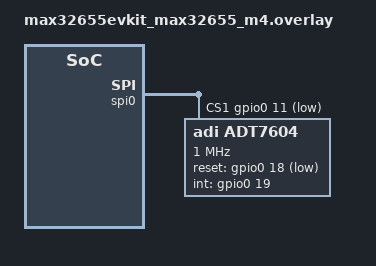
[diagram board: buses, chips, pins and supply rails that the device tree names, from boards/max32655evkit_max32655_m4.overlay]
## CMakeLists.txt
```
# SPDX-License-Identifier: Apache-2.0

cmake_minimum_required(VERSION 3.20.0)
find_package(Zephyr REQUIRED HINTS $ENV{ZEPHYR_BASE})
project(adt7604)

target_sources(app PRIVATE src/main.c)
```

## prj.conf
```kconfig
CONFIG_SENSOR=y
CONFIG_SENSOR_ASYNC_API=y
CONFIG_ADT7604=y
CONFIG_MAIN_STACK_SIZE=4096
```

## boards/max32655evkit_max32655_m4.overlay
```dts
/*
 * SPDX-FileCopyrightText: Copyright (c) 2026 Analog Devices, Inc.
 *
 * SPDX-License-Identifier: Apache-2.0
 */

#include <zephyr/dt-bindings/sensor/adt7604.h>

&i2c0 {
	status = "disabled";
};

&spi0 {
	cs-gpios = <&gpio0 4 (GPIO_ACTIVE_LOW | MAX32_GPIO_VSEL_VDDIOH)>,
		   <&gpio0 11 (GPIO_ACTIVE_LOW | MAX32_GPIO_VSEL_VDDIOH)>;

	adt7604: adt7604@1 {
		compatible = "adi,adt7604";
		reg = <1>;
		spi-max-frequency = <1000000>;

		reset-gpios = <&gpio0 18 (GPIO_ACTIVE_LOW | MAX32_GPIO_VSEL_VDDIOH)>;
		int-gpios = <&gpio0 19 (GPIO_ACTIVE_HIGH | MAX32_GPIO_VSEL_VDDIOH)>;

		#address-cells = <1>;
		#size-cells = <0>;

		adi,mux-delay-config-us = <0>;
		adi,filter-notch-freq = "50hz";

		channel@2 {
			reg = <0x2>;
			adi,sensor-type = <ADT7604_SENSOR_TYPE_RSENSE>;
			adi,rsense-val = "100";
			adi,rsense-mohm;
		};

		channel@4 {
			reg = <0x4>;
			adi,sensor-type = <ADT7604_SENSOR_TYPE_COPPER_TRACE>;
			adi,excitation-current = <ADT7604_CT_EXCITATION_CURRENT_10_UA>;
			adi,rsense-channel = <2>;
			adi,sub-ohm;
		};

		channel@6 {
			reg = <0x6>;
			adi,sensor-type = <ADT7604_SENSOR_TYPE_COPPER_TRACE>;
			adi,excitation-current = <ADT7604_CT_EXCITATION_CURRENT_10_UA>;
			adi,rsense-channel = <2>;
			adi,sub-ohm;
		};

		channel@8 {
			reg = <0x8>;
			adi,sensor-type = <ADT7604_SENSOR_TYPE_COPPER_TRACE>;
			adi,rsense-channel = <2>;
			adi,excitation-current = <ADT7604_CT_EXCITATION_CURRENT_10_UA>;
		};

		channel@c {
			reg = <0xc>;
			adi,sensor-type = <ADT7604_SENSOR_TYPE_RSENSE>;
			adi,rsense-val = "1000";
		};

		channel@e {
			reg = <0xe>;
			adi,sensor-type = <ADT7604_SENSOR_TYPE_LEAK_DETECTOR>;
			adi,rsense-channel = <12>;
			adi,excitation-current = <ADT7604_LEAK_EXCITATION_CURRENT_10_UA>;
		};

		channel@10 {
			reg = <0x10>;
			adi,sensor-type = <ADT7604_SENSOR_TYPE_LEAK_DETECTOR>;
			adi,rsense-channel = <12>;
			adi,excitation-current = <ADT7604_LEAK_EXCITATION_CURRENT_10_UA>;
		};

		channel@12 {
			reg = <0x12>;
			adi,sensor-type = <ADT7604_SENSOR_TYPE_RTD_PT_100>;
			adi,rsense-channel = <12>;
			adi,sensor-configuration = <ADT7604_RTD_CONFIG_2_WIRE_INTERNAL>;
			adi,excitation-current = <ADT7604_RTD_EXCITATION_CURRENT_1_MA>;
			adi,rtd-curve = "european-curve";
		};

		channel@14 {
			reg = <0x14>;
			adi,sensor-type = <ADT7604_SENSOR_TYPE_THERMISTOR_44006>;
			adi,rsense-channel = <12>;
			adi,sensor-configuration = <ADT7604_THERMISTOR_CONFIG_DIFF_SHARE_NO_ROTATE>;
			adi,excitation-current = <ADT7604_THERMISTOR_EXCITATION_CURRENT_10_UA>;
		};
	};
};
```

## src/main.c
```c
/*
 * SPDX-FileCopyrightText: Copyright (c) 2026 Analog Devices, Inc.
 *
 * SPDX-License-Identifier: Apache-2.0
 *
 * ADT7604 example — uses the sensor read/decode API (SENSOR_ASYNC_API).
 *
 * Two separate reads are issued per loop iteration:
 *   1. Temperature channels  (SENSOR_CHAN_AMBIENT_TEMP) — RTD and thermistor types
 *   2. Resistance channels   (SENSOR_CHAN_RESISTANCE)   — copper-trace types
 *
 * The decoder returns one reading per channel instance. The print functions
 * iterate chan_idx until get_frame_count returns an error to discover all instances.
 */

#include <stdio.h>
#include <zephyr/kernel.h>
#include <zephyr/drivers/sensor.h>
#include <zephyr/drivers/sensor_data_types.h>
#include <zephyr/rtio/rtio.h>
#include <zephyr/dsp/print_format.h>
#include <zephyr/logging/log.h>

#include <zephyr/drivers/sensor/adt7604.h>

LOG_MODULE_REGISTER(adt7604, LOG_LEVEL_INF);

/* One RTIO context is shared between both reads (sequential, not concurrent). */
RTIO_DEFINE(adt7604_ctx, 1, 1);

SENSOR_DT_READ_IODEV(temp_iodev, DT_NODELABEL(adt7604), {SENSOR_CHAN_AMBIENT_TEMP, 0},
		     {SENSOR_CHAN_AMBIENT_TEMP, 1});

SENSOR_DT_READ_IODEV(res_iodev, DT_NODELABEL(adt7604), {SENSOR_CHAN_RESISTANCE, 0},
		     {SENSOR_CHAN_RESISTANCE, 1}, {SENSOR_CHAN_RESISTANCE, 2},
		     {SENSOR_CHAN_RESISTANCE, 3}, {SENSOR_CHAN_RESISTANCE, 4});

/*
 * The encoded buffer must fit the full adt7604_encoded_data struct.
 * 256 bytes is generous; the driver's sizeof(adt7604_encoded_data) with
 * ADT7604_MAX_CHANNELS=20 channels is ~165 bytes.
 */
#define READ_BUF_SIZE 256

static void print_temp_readings(const struct sensor_decoder_api *decoder, const uint8_t *buf)
{
	bool found = false;

	for (uint16_t idx = 0;; idx++) {
		struct sensor_chan_spec chan = {SENSOR_CHAN_AMBIENT_TEMP, idx};
		uint16_t count = 0;

		if (decoder->get_frame_count(buf, chan, &count) < 0 || count == 0) {
			break;
		}

		struct sensor_q31_data out = {0};
		uint32_t fit = 0;
		int decoded = decoder->decode(buf, chan, &fit, 1, &out);

		if (decoded > 0) {
			printf("  temp[%d]: %" PRIq(6) " °C\n", idx,
			       PRIq_arg(out.readings[0].temperature, 6, out.shift));
			found = true;
		}
	}

	if (!found) {
		LOG_INF("No temperature readings in buffer");
	}
}

static void print_res_readings(const struct sensor_decoder_api *decoder, const uint8_t *buf)
{
	bool found = false;

	for (uint16_t idx = 0;; idx++) {
		struct sensor_chan_spec chan = {SENSOR_CHAN_RESISTANCE, idx};
		uint16_t count = 0;

		if (decoder->get_frame_count(buf, chan, &count) < 0 || count == 0) {
			break;
		}

		struct sensor_q31_data out = {0};
		uint32_t fit = 0;
		int decoded = decoder->decode(buf, chan, &fit, 1, &out);

		if (decoded > 0) {
			printf("  resistance[%d]: %" PRIq(6) " Ohm\n", idx,
			       PRIq_arg(out.readings[0].resistance, 6, out.shift));
			found = true;
		}
	}

	if (!found) {
		LOG_INF("No resistance readings in buffer");
	}
}

int main(void)
{
	const struct device *dev = DEVICE_DT_GET(DT_NODELABEL(adt7604));
	const struct sensor_decoder_api *decoder;
	int rc;

	if (!device_is_ready(dev)) {
		LOG_ERR("ADT7604 device not ready");
		return -ENODEV;
	}

	/* Example copper trace sensor data table
	 * This is for a copper trace ≥1Ω sensor
	 * Format: resistance (mΩ) and temperature (Kelvin)
	 */
	struct adt7604_custom_sensor_data copper_trace_rows[] = {
		{.copper_trace = {.resistance_mohm = 0, .temp_kelvin = 0}},
		{.copper_trace = {.resistance_mohm = 51937, .temp_kelvin = 51200}},
		{.copper_trace = {.resistance_mohm = 454410, .temp_kelvin = 102400}},
		{.copper_trace = {.resistance_mohm = 856801, .temp_kelvin = 153600}},
		{.copper_trace = {.resistance_mohm = 1243136, .temp_kelvin = 202752}},
		{.copper_trace = {.resistance_mohm = 1645609, .temp_kelvin = 253952}},
		{.copper_trace = {.resistance_mohm = 2048000, .temp_kelvin = 305152}},
		{.copper_trace = {.resistance_mohm = 2466529, .temp_kelvin = 358400}},
		{.copper_trace = {.resistance_mohm = 2869002, .temp_kelvin = 409600}},
		{.copper_trace = {.resistance_mohm = 3456532, .temp_kelvin = 484352}},
	};

	struct adt7604_custom_sensor_data_table copper_trace_tbl = {
		.data = copper_trace_rows,
		.num_rows = ARRAY_SIZE(copper_trace_rows),
		.custom_addr_ptr = 0, /* Start at offset 0 from 0x250 */
	};

	/* Write copper trace custom sensor table (channel 8) */
	rc = adt7604_write_custom_sensor_data_table(dev, 8, &copper_trace_tbl);
	if (rc < 0) {
		printf("Failed to write copper trace custom data: %d\n", rc);
		return rc;
	}

	rc = sensor_get_decoder(dev, &decoder);

	if (rc < 0) {
		LOG_ERR("Failed to get decoder: %d", rc);
		return rc;
	}

	LOG_INF("ADT7604 sample started");

	uint8_t buf[READ_BUF_SIZE];

	while (true) {
		/* --- Temperature channels --- */
		rc = sensor_read(&temp_iodev, &adt7604_ctx, buf, sizeof(buf));
		if (rc < 0) {
			LOG_ERR("sensor_read (temp) failed: %d", rc);
		} else {
			printf("Temperature channels:\n");
			print_temp_readings(decoder, buf);
		}

		/* --- Resistance (copper-trace) channels --- */
		rc = sensor_read(&res_iodev, &adt7604_ctx, buf, sizeof(buf));
		if (rc < 0) {
			LOG_ERR("sensor_read (resistance) failed: %d", rc);
		} else {
			printf("Resistance channels:\n");
			print_res_readings(decoder, buf);
		}

		k_sleep(K_SECONDS(5));
	}

	return 0;
}
```
